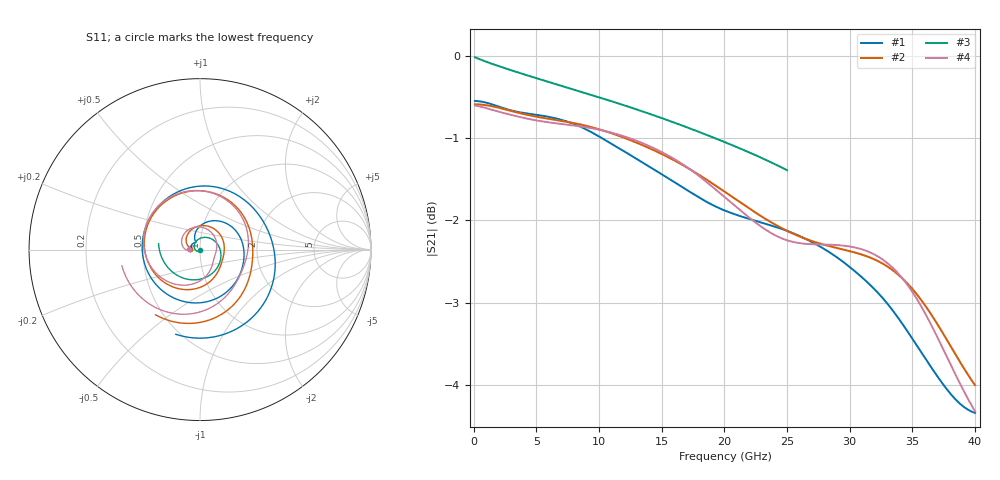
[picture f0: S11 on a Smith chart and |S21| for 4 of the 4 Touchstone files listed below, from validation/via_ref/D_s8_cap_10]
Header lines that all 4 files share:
# Hz S RI R 50
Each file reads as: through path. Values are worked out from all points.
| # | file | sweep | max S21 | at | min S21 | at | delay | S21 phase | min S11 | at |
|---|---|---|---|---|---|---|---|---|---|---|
| 1 | cst.s2p | 100 MHz to 40 GHz | -0.55 dB | 100 MHz | -4.3 dB | 40 GHz | 53.8 ps | -32 deg at 20.1 GHz | -26.3 dB | 3.2 GHz |
| 2 | kisi.s2p | 100 MHz to 40 GHz | -0.59 dB | 100 MHz | -4.0 dB | 40 GHz | 54 ps | -33 deg at 20.1 GHz | -25.9 dB | 2.6 GHz |
| 3 | kisi_model.s2p | 100 MHz to 25 GHz | -0.02 dB | 100 MHz | -1.4 dB | 25 GHz | 51.2 ps | 127 deg at 12.6 GHz | -55.6 dB | 100 MHz |
| 4 | openems_base.s2p | 100 MHz to 40 GHz | -0.60 dB | 100 MHz | -4.3 dB | 40 GHz | 55.5 ps | -44 deg at 20.1 GHz | -24.1 dB | 1.3 GHz |
